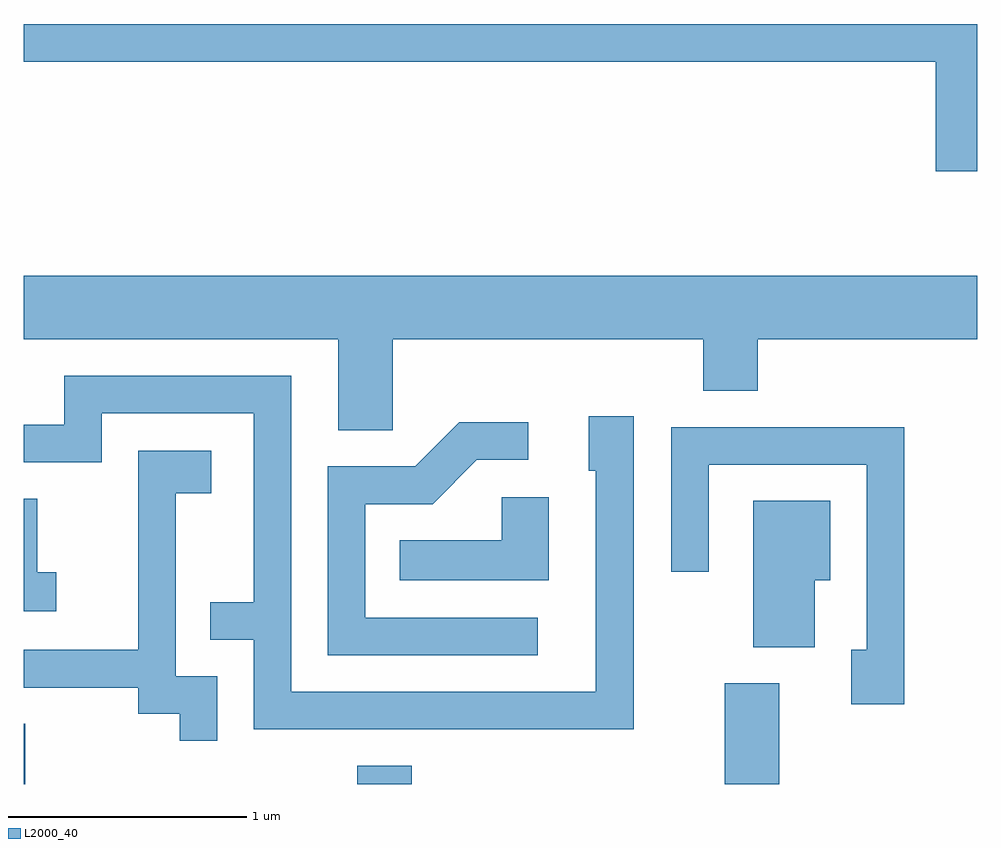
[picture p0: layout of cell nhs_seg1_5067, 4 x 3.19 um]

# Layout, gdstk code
import gdstk
lib = gdstk.Library(unit=1e-6, precision=1e-09)
def R(c, l, rs):  # rectangles x0, y0, x1, y1
    for r in rs: c.add(gdstk.rectangle(r[:2], r[2:], *l))
def P(c, l, *ps):  # polygons
    for p in ps: c.add(gdstk.Polygon(p, *l))
L2000_40 = (2000, 40)

nhs_seg1_5067 = lib.new_cell('nhs_seg1_5067')
R(nhs_seg1_5067, L2000_40, [(337.611,897.712,337.619,897.964), (339.011,897.712,339.239,897.789), (340.551,897.712,340.779,898.134)])
P(nhs_seg1_5067, L2000_40, [(341.611,900.899),(337.611,900.899),(337.611,900.741),(341.436,900.741),(341.436,900.281),(341.611,900.281)],
  [(339.159,899.576),(340.461,899.576),(340.461,899.361),(340.689,899.361),(340.689,899.576),(341.611,899.576),(341.611,899.844),(337.611,899.844),(337.611,899.576),(338.931,899.576),(338.931,899.196),(339.159,899.196)],
  [(340.169,899.254),(339.981,899.254),(339.981,899.026),(340.011,899.026),(340.011,898.099),(338.734,898.099),(338.734,899.424),(337.781,899.424),(337.781,899.219),(337.611,899.219),(337.611,899.061),(337.939,899.061),(337.939,899.266),(338.576,899.266),(338.576,898.474),(338.393,898.474),(338.393,898.316),(338.576,898.316),(338.576,897.941),(340.169,897.941)],
  [(339.768,898.409),(339.044,898.409),(339.044,898.886),(339.327,898.886),(339.512,899.071),(339.728,899.071),(339.728,899.229),(339.439,899.229),(339.254,899.044),(338.886,899.044),(338.886,898.251),(339.768,898.251)],
  [(341.304,899.209),(340.326,899.209),(340.326,898.603),(340.484,898.603),(340.484,899.051),(341.146,899.051),(341.146,898.274),(341.081,898.274),(341.081,898.046),(341.304,898.046)],
  [(338.424,898.164),(338.249,898.164),(338.249,898.931),(338.399,898.931),(338.399,899.109),(338.091,899.109),(338.091,898.274),(337.611,898.274),(337.611,898.116),(338.091,898.116),(338.091,898.006),(338.266,898.006),(338.266,897.893),(338.424,897.893)],
  [(339.814,898.914),(339.616,898.914),(339.616,898.734),(339.188,898.734),(339.188,898.566),(339.814,898.566)],
  [(337.748,898.599),(337.669,898.599),(337.669,898.909),(337.611,898.909),(337.611,898.436),(337.748,898.436)],
  [(340.929,898.566),(340.994,898.566),(340.994,898.899),(340.671,898.899),(340.671,898.286),(340.929,898.286)])

lib.write_gds('nhs_seg1_5067.gds')
